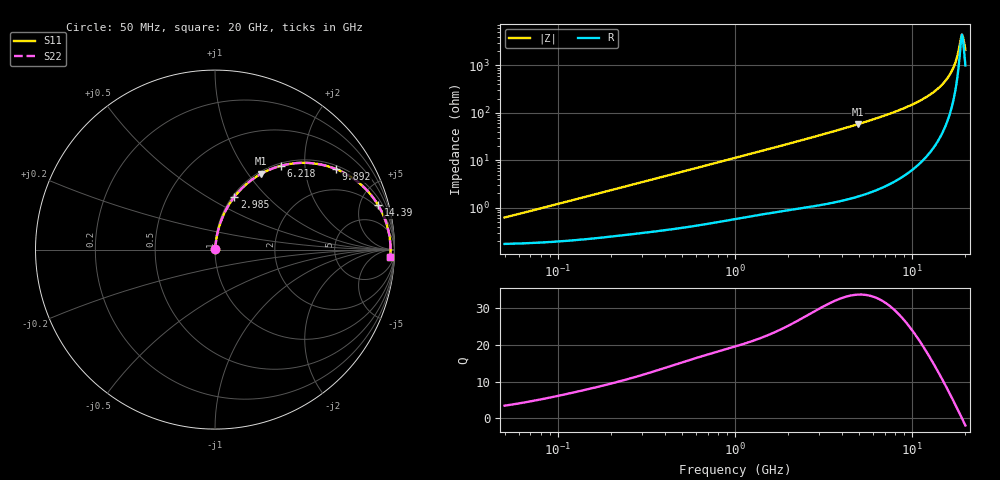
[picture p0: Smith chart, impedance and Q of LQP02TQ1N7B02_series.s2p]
!Murata Part Number: LQP02TQ1N7B02
!These Parameters are Measured in Series Mode Connection
!  o--[Z]--o
!Port1  Port2
!  o-------o
!Freq. Start=50[MHz] Stop=20[GHz], 401[Steps]
# Hz S RI R 50
!Freq.(Hz) S11(Real) S11(Imag) S21(Real) S21(Imag) S12(Real) S12(Imag) S22(Real) S22(Imag)
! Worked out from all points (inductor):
!   401 points, 50 MHz to 20 GHz, reference 50 ohm
!   read as one part in series: L = 1.9 nH near 51.52 MHz
!   highest Q = 33.5 at 4.967 GHz (marker M1), where L = 1.85 nH
!   self-resonance near 19.12 GHz
!   S11 on the Smith chart (normalised r, x): 50 MHz: 1.00, +0.01; 2.985 GHz: 1.02, +0.67; 6.218 GHz: 1.05, +1.51; 9.892 GHz: 1.12, +2.92; 14.39 GHz: 1.61, +7.10; 20 GHz: 21, -38
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5e7  0.00176 0.00597  0.9982 -0.00597  0.9982 -0.00597  0.00176 0.00597
1.364002e8  0.00239 0.016  0.9976 -0.016  0.9976 -0.016  0.00239 0.016
3.721004e8  0.00503 0.0424  0.995 -0.0424  0.995 -0.0424  0.00503 0.0424
1e9  0.0179 0.1095  0.9821 -0.1095  0.9821 -0.1095  0.0179 0.1095
1.689197e9  0.0413 0.1787  0.9587 -0.1787  0.9587 -0.1787  0.0413 0.1787
2.728004e9  0.0928 0.2733  0.9072 -0.2733  0.9072 -0.2733  0.0928 0.2733
2.98453e9  0.1084 0.2945  0.8916 -0.2945  0.8916 -0.2945  0.1084 0.2945
3.908127e9  0.1723 0.3625  0.8277 -0.3625  0.8277 -0.3625  0.1723 0.3625
4.966507e9  0.2573 0.4225  0.7427 -0.4225  0.7427 -0.4225  0.2573 0.4225
6.217679e9  0.3668 0.4669  0.6332 -0.4669  0.6332 -0.4669  0.3668 0.4669
7.442007e9  0.4758 0.4833  0.5242 -0.4833  0.5242 -0.4833  0.4758 0.4833
9.892087e9  0.6747 0.4483  0.3253 -0.4483  0.3253 -0.4483  0.6747 0.4483
1.220001e10  0.8182 0.3584  0.1818 -0.3584  0.1818 -0.3584  0.8182 0.3584
1.438523e10  0.9089 0.2481  0.0911 -0.2481  0.0911 -0.2481  0.9089 0.2481
1.573793e10  0.9445 0.1758  0.0555 -0.1758  0.0555 -0.1758  0.9445 0.1758
1.696185e10  0.965 0.1108  0.035 -0.1108  0.035 -0.1108  0.965 0.1108
1.774144e10  0.9728 0.0704  0.0272 -0.0704  0.0272 -0.0704  0.9728 0.0704
1.855685e10  0.9772 0.0293  0.0228 -0.0293  0.0228 -0.0293  0.9772 0.0293
1.88369e10  0.9779 0.0155  0.0221 -0.0155  0.0221 -0.0155  0.9779 0.0155
1.912117e10  0.9783 0.00172  0.0217 -0.00172  0.0217 -0.00172  0.9783 0.00172
1.940974e10  0.9782 -0.0121  0.0218 0.0121  0.0218 0.0121  0.9782 -0.0121
2e10  0.9768 -0.0396  0.0232 0.0396  0.0232 0.0396  0.9768 -0.0396
